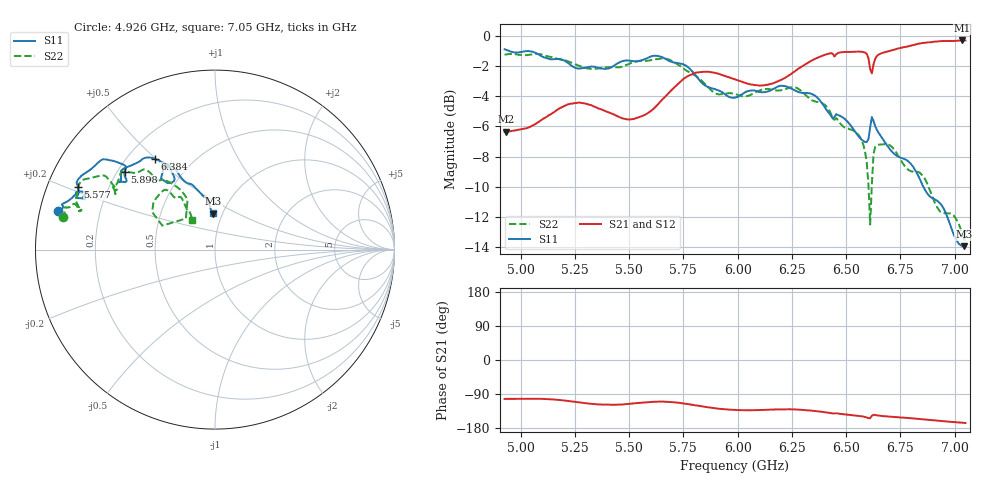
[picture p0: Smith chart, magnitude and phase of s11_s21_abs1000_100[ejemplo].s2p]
! MS46122B
! 1919307/90821646
! 1/19/2022 8:15:07 PM
! G:\MI UNIDAD\MATLAB\DE_EMBED_COAX\TRANSITION_SECTION\S11_S21_ABS1000_100.S2P
! CHANNEL.1
! TR.MEASUREMENT
! CORRECTED.DATA
# GHZ S RI R 50.0
! FREQ.GHZ  S11RE  S11IM  S21RE  S21IM  S12RE  S12IM  S22RE  S22IM
!; PortSelection: Port_12
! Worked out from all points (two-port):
!   272 points, 4.926 GHz to 7.05 GHz, reference 50 ohm
!   highest |S21| = -0.32 dB at 7.034 GHz (marker M1); lowest = -6.4 dB at 4.934 GHz (marker M2)
!   |S21| within 3 dB of the highest: 5.717 GHz to end of sweep
!   lowest |S11| = -13.9 dB at 7.042 GHz (marker M3), VSWR 1.50, Z = 45.3 + j19 ohm
!   |S11| at or under -10 dB: 6.856 GHz to end of sweep
!   |S22| runs from -13.7 to -1.2 dB; largest |S21 - S12| = 0.011
!   S11 on the Smith chart (normalised r, x): 4.926 GHz: 0.05, +0.12; 5.577 GHz: 0.09, +0.22; 5.898 GHz: 0.23, +0.36; 6.384 GHz: 0.31, +0.50; 7.05 GHz: 0.91, +0.38
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4.926338  -0.8753 0.2138  -0.1058 -0.4694  -0.1008 -0.4633  -0.8456 0.1792
4.934174  -0.8704 0.2164  -0.1049 -0.4696  -0.1019 -0.4644  -0.8472 0.1829
5.122248  -0.7864 0.2991  -0.1231 -0.5259  -0.124 -0.5273  -0.8234 0.2342
5.286812  -0.7143 0.3173  -0.2337 -0.5511  -0.2374 -0.5444  -0.7573 0.217
5.467049  -0.7707 0.2878  -0.2459 -0.4735  -0.2416 -0.4724  -0.7549 0.2295
5.576758  -0.7629 0.3472  -0.2045 -0.5093  -0.2017 -0.5114  -0.7731 0.2889
5.639449  -0.7545 0.3998  -0.2035 -0.5643  -0.2029 -0.5658  -0.7596 0.354
5.756995  -0.6213 0.5032  -0.3071 -0.6561  -0.3127 -0.6541  -0.6562 0.4081
5.89805  -0.5025 0.4345  -0.4577 -0.5975  -0.4591 -0.5871  -0.5483 0.3377
5.992087  -0.4981 0.3764  -0.4765 -0.5331  -0.473 -0.5291  -0.5564 0.3168
6.195833  -0.5236 0.4375  -0.4597 -0.5425  -0.4616 -0.5462  -0.5451 0.3702
6.344725  -0.3828 0.5126  -0.5745 -0.5985  -0.5803 -0.594  -0.4341 0.4285
6.383907  -0.3327 0.5048  -0.6187 -0.5887  -0.622 -0.5819  -0.4032 0.4446
6.57198  -0.2245 0.3932  -0.7546 -0.4611  -0.7518 -0.4575  -0.2516 0.3746
6.595489  -0.2413 0.3738  -0.7661 -0.4113  -0.7619 -0.41  -0.188 0.3301
6.611162  -0.301 0.397  -0.6932 -0.3445  -0.6897 -0.3436  -0.1624 0.1731
6.618998  -0.2847 0.4565  -0.6297 -0.408  -0.6272 -0.4059  -0.2932 0.1336
6.626835  -0.2416 0.4625  -0.6565 -0.4665  -0.6549 -0.4645  -0.3497 0.2086
6.697362  -0.1766 0.3872  -0.7635 -0.4537  -0.7643 -0.4505  -0.2806 0.333
7.034327  -0.0098 0.2015  -0.933 -0.2417  -0.9276 -0.2345  -0.1313 0.181
7.042164  -0.00938 0.2011  -0.933 -0.2357  -0.9292 -0.23  -0.1277 0.1728
7.05  -0.00839 0.2014  -0.9358 -0.2304  -0.9323 -0.2239  -0.126 0.1647
